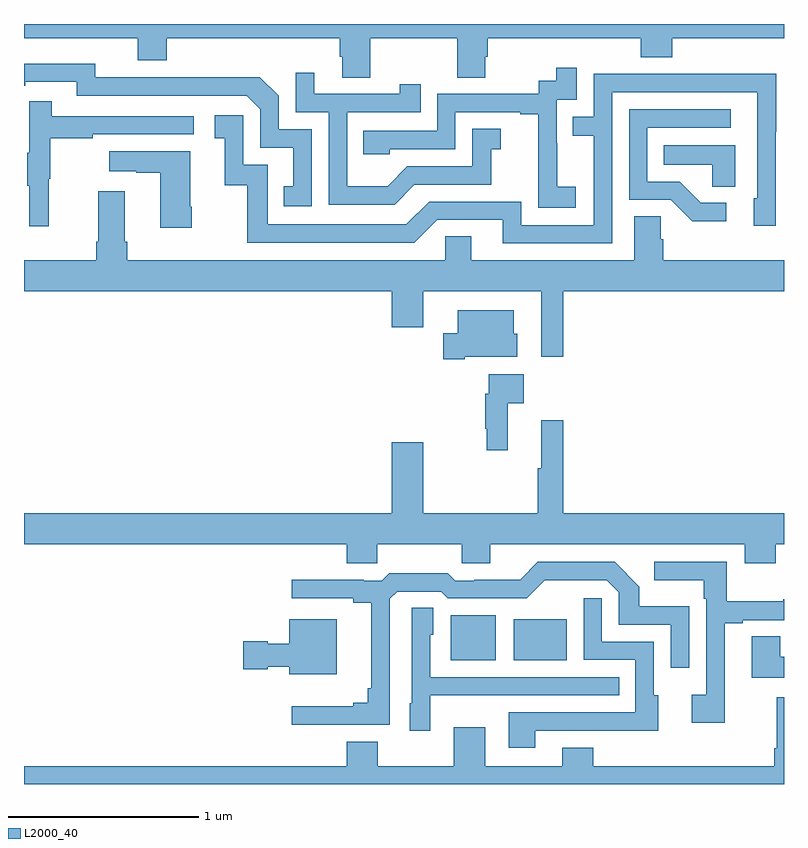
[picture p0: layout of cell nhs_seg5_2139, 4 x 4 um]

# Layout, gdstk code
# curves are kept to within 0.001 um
import gdstk
lib = gdstk.Library(unit=1e-6, precision=1e-09)
def R(c, l, rs):  # rectangles x0, y0, x1, y1
    for r in rs: c.add(gdstk.rectangle(r[:2], r[2:], *l))
def P(c, l, *ps):  # polygons
    for p in ps: c.add(gdstk.Polygon(p, *l))
L2000_40 = (2000, 40)

nhs_seg5_2139 = lib.new_cell('nhs_seg5_2139')
R(nhs_seg5_2139, L2000_40, [(237.245,889.451,237.484,889.687), (237.578,889.451,237.856,889.666)])
P(nhs_seg5_2139, L2000_40, [(236.823,892.724),(237.28,892.724),(237.28,892.516),(237.427,892.516),(237.427,892.626),(237.44,892.626),(237.44,892.724),(238.247,892.724),(238.247,892.625),(238.412,892.625),(238.412,892.724),(239,892.724),(239,892.799),(235,892.799),(235,892.724),(235.598,892.724),(235.598,892.607),(235.751,892.607),(235.751,892.724),(236.663,892.724),(236.663,892.626),(236.675,892.626),(236.675,892.516),(236.823,892.516)],
  [(236.514,892.245),(236.34,892.245),(236.34,892.422),(236.242,892.52),(235.834,892.52),(235.834,892.518),(235.374,892.518),(235.374,892.591),(235,892.59),(235,892.474),(235.006,892.474),(235.006,892.494),(235.278,892.494),(235.278,892.422),(236.172,892.422),(236.244,892.35),(236.244,892.149),(236.417,892.149),(236.417,891.945),(236.368,891.945),(236.368,891.84),(236.514,891.84)],
  [(237.904,891.943),(237.806,891.943),(237.806,892.172),(237.804,892.172),(237.804,892.401),(237.909,892.401),(237.909,892.57),(237.801,892.57),(237.801,892.5),(237.708,892.5),(237.708,892.431),(237.174,892.431),(237.174,892.236),(236.785,892.236),(236.785,892.113),(236.925,892.113),(236.925,892.14),(237.27,892.14),(237.27,892.335),(237.611,892.335),(237.611,892.323),(237.707,892.323),(237.707,892.039),(237.706,892.039),(237.706,891.833),(237.904,891.833)],
  [(237.055,891.954),(237.459,891.954),(237.459,892.139),(237.508,892.139),(237.508,892.249),(237.36,892.249),(237.36,892.05),(237.018,892.05),(236.914,891.946),(236.7,891.946),(236.7,892.335),(237.089,892.335),(237.089,892.483),(236.978,892.483),(236.978,892.431),(236.527,892.431),(236.527,892.543),(236.43,892.543),(236.43,892.335),(236.604,892.335),(236.604,891.849),(236.95,891.849)],
  [(238.095,892.44),(238.86,892.44),(238.86,891.882),(238.841,891.882),(238.841,891.738),(238.956,891.738),(238.956,892.231),(238.959,892.231),(238.959,892.538),(238.495,892.538),(238.495,892.536),(237.999,892.536),(237.999,892.311),(237.889,892.311),(237.889,892.21),(237.999,892.21),(237.999,891.741),(237.618,891.741),(237.618,891.864),(237.132,891.864),(237.012,891.744),(236.283,891.744),(236.283,892.059),(236.154,892.059),(236.154,892.318),(236.004,892.318),(236.004,892.197),(236.057,892.197),(236.057,891.951),(236.175,891.951),(236.175,891.648),(237.054,891.648),(237.174,891.768),(237.521,891.768),(237.521,891.645),(238.095,891.645)],
  [(235.13,891.984),(235.138,891.984),(235.138,892.198),(235.361,892.198),(235.361,892.218),(235.894,892.218),(235.894,892.314),(235.145,892.314),(235.145,892.393),(235.028,892.393),(235.028,892.121),(235.017,892.121),(235.017,891.947),(235.028,891.947),(235.028,891.735),(235.13,891.735)],
  [(238.696,891.858),(238.561,891.858),(238.45,891.969),(238.281,891.969),(238.281,892.254),(238.72,892.254),(238.72,892.35),(238.185,892.35),(238.185,891.873),(238.404,891.873),(238.517,891.761),(238.696,891.761)],
  [(238.744,892.162),(238.366,892.162),(238.366,892.058),(238.623,892.058),(238.623,891.943),(238.744,891.943)],
  [(235.884,891.838),(235.876,891.838),(235.876,892.129),(235.449,892.129),(235.449,892.025),(235.592,892.025),(235.592,892.015),(235.718,892.015),(235.718,891.726),(235.884,891.726)],
  [(237.839,891.392),(239,891.392),(239,891.556),(238.364,891.556),(238.364,891.665),(238.35,891.665),(238.35,891.788),(238.211,891.788),(238.211,891.556),(237.355,891.556),(237.355,891.683),(237.216,891.683),(237.216,891.556),(235.544,891.556),(235.544,891.652),(235.531,891.652),(235.531,891.919),(235.391,891.919),(235.391,891.652),(235.379,891.652),(235.379,891.556),(235,891.556),(235,891.392),(236.936,891.392),(236.936,891.204),(237.1,891.204),(237.1,891.392),(237.723,891.392),(237.723,891.048),(237.839,891.048)],
  [(237.319,891.047),(237.595,891.047),(237.595,891.168),(237.577,891.168),(237.577,891.292),(237.284,891.292),(237.284,891.172),(237.207,891.172),(237.207,891.035),(237.319,891.035)],
  [(237.545,890.804),(237.631,890.804),(237.631,890.956),(237.447,890.956),(237.447,890.852),(237.427,890.852),(237.427,890.668),(237.435,890.668),(237.435,890.556),(237.545,890.556)],
  [(238.957,890.06),(239,890.06),(239,890.224),(237.839,890.224),(237.839,890.713),(237.722,890.713),(237.722,890.46),(237.703,890.46),(237.703,890.224),(237.1,890.224),(237.1,890.599),(236.936,890.599),(236.936,890.224),(235,890.224),(235,890.06),(236.699,890.06),(236.699,889.962),(236.859,889.962),(236.859,890.06),(237.304,890.06),(237.304,889.962),(237.454,889.962),(237.454,890.06),(238.793,890.06),(238.793,889.961),(238.957,889.961)],
  [(236.925,889.773),(236.964,889.812),(237.195,889.812),(237.231,889.776),(237.645,889.776),(237.74,889.871),(238.068,889.872),(238.131,889.809),(238.131,889.638),(238.404,889.638),(238.404,889.41),(238.5,889.41),(238.5,889.735),(238.239,889.735),(238.239,889.838),(238.108,889.968),(237.705,889.968),(237.611,889.874),(237.37,889.874),(237.37,889.869),(237.27,889.869),(237.231,889.909),(236.923,889.909),(236.883,889.869),(236.789,889.869),(236.789,889.874),(236.409,889.874),(236.409,889.776),(236.732,889.776),(236.732,889.754),(236.828,889.754),(236.828,889.303),(236.809,889.303),(236.809,889.226),(236.732,889.226),(236.732,889.207),(236.409,889.207),(236.409,889.11),(236.925,889.11)],
  [(238.687,889.644),(238.783,889.644),(238.783,889.662),(239,889.662),(239,889.771),(238.997,889.771),(238.997,889.76),(238.699,889.76),(238.699,889.968),(238.317,889.968),(238.317,889.871),(238.578,889.871),(238.578,889.775),(238.59,889.775),(238.59,889.27),(238.515,889.27),(238.515,889.122),(238.687,889.122)],
  [(237.691,889.08),(238.121,889.08),(238.121,889.079),(238.339,889.079),(238.339,889.266),(238.314,889.266),(238.314,889.548),(238.041,889.548),(238.041,889.777),(237.945,889.777),(237.945,889.452),(238.218,889.452),(238.218,889.176),(237.551,889.176),(237.551,888.99),(237.691,888.99)],
  [(237.138,889.265),(237.455,889.265),(237.455,889.266),(238.133,889.266),(238.133,889.362),(237.138,889.362),(237.138,889.584),(237.154,889.584),(237.154,889.727),(237.042,889.727),(237.042,889.224),(237.029,889.224),(237.029,889.08),(237.138,889.08)],
  [(236.647,889.666),(236.396,889.666),(236.396,889.537),(236.283,889.537),(236.283,889.55),(236.154,889.55),(236.154,889.403),(236.283,889.403),(236.283,889.415),(236.396,889.415),(236.396,889.376),(236.647,889.376)],
  [(239,889.468),(238.981,889.468),(238.981,889.577),(238.829,889.577),(238.829,889.358),(239,889.358)],
  [(239,889.255),(238.961,889.255),(238.961,888.988),(238.949,888.988),(238.949,888.892),(237.997,888.892),(237.997,888.991),(237.833,888.991),(237.833,888.892),(237.427,888.892),(237.427,889.099),(237.263,889.099),(237.263,888.892),(236.863,888.892),(236.863,889.021),(236.699,889.021),(236.699,888.892),(235,888.892),(235,888.799),(239,888.799)])

lib.write_gds('nhs_seg5_2139.gds')
